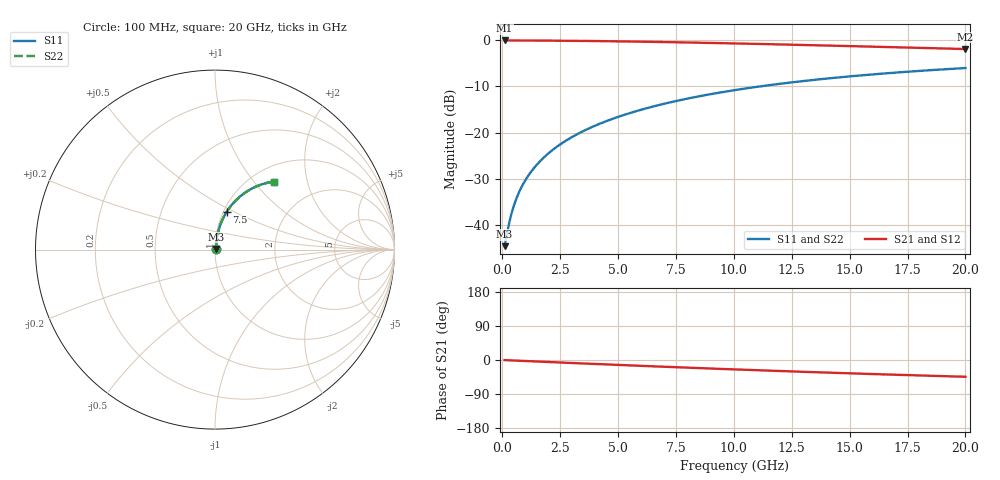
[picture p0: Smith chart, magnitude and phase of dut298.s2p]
! Touchstone file exported from HFSS 2024.1.0
!  File:  C:/UserFiles/LocalFiles/RDL_TSV_Batchsim/temp_RDL_top_298_1778690738.aedt
!  Generated:  12:47:47 AM May 14, 2026
!  Design:  RDL_top
!  Project:  temp_RDL_top_298_1778690738
!  Setup:  Setup1
!  Solution:  Sweep
! Variables:
!  dtsv = 10.80580581um
!  hbump = 3um
!  htsv = 71.89um
!  ldown = 100um
!  lrdl = 532.44um
!  p = 40
!  p1 = 59.19um
!  rhole = 1um
!  t = 450um
!  tdown = 3.915915916um
!  trdl = 2.73um
!  wdown = 15.38538539um
!  wrdl = 13.99um
# GHz S MA R 50.000000
! Terminal data exported
! Port[1] = Box2_T1
! Port[2] = Box2_T2
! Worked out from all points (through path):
!   200 points, 100 MHz to 20 GHz, reference 50 ohm
!   highest |S21| = -0.04 dB at 100 MHz (marker M1); lowest = -1.9 dB at 20 GHz (marker M2)
!   group delay of S21, straight-line fit = 6.15 ps
!   lowest |S11| = -44.5 dB at 100 MHz (marker M3), VSWR 1.01, Z = 50.5 + j0.313 ohm
!   |S11| at or under -10 dB: start of sweep to 11.1 GHz
!   |S22| runs from -44.5 to -6.0 dB; largest |S21 - S12| = 4.9e-15
!   S11 on the Smith chart (normalised r, x): 100 MHz: 1.01, +0.01; 7.5 GHz: 1.04, +0.46; 20 GHz: 1.26, +1.27
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0.1  0.005933 31.5  0.9949 -0.3  0.9949 -0.3  0.005933 31.5
! Gamma 0 0 0 0
! Port Impedance 50 0 50 0
0.3  0.01064 60.3  0.9947 -0.8  0.9947 -0.8  0.01064 60.3
0.4  0.01342 66.1  0.9946 -1.1  0.9946 -1.1  0.01342 66.1
0.5  0.01628 69.7  0.9944 -1.4  0.9944 -1.4  0.01628 69.7
0.6  0.01916 72.2  0.9942 -1.6  0.9942 -1.6  0.01916 72.2
0.8  0.02496 75.4  0.9938 -2.2  0.9938 -2.2  0.02496 75.4
1.1  0.03369 77.9  0.9931 -2.9  0.9931 -2.9  0.03369 77.9
1.5  0.04537 79.5  0.9921 -4.0  0.9921 -4.0  0.04538 79.5
1.8  0.05417 80.1  0.9912 -4.8  0.9912 -4.8  0.05417 80.1
2.1  0.06298 80.3  0.9901 -5.6  0.9901 -5.6  0.06298 80.3
2.7  0.08065 80.3  0.9876 -7.1  0.9876 -7.1  0.08065 80.3
3.5  0.1042 79.6  0.9835 -9.2  0.9835 -9.2  0.1042 79.6
4.2  0.1248 78.7  0.9791 -11.0  0.9791 -11.0  0.1248 78.7
5  0.1483 77.5  0.9734 -13.0  0.9734 -13.0  0.1483 77.4
5.9  0.1745 75.9  0.9661 -15.2  0.9661 -15.2  0.1745 75.9
6.8  0.2003 74.2  0.958 -17.4  0.958 -17.4  0.2003 74.2
7.5  0.2201 72.8  0.9513 -19.1  0.9513 -19.1  0.2201 72.8
8.7  0.2533 70.5  0.9389 -21.9  0.9389 -21.9  0.2533 70.5
10.1  0.2906 67.6  0.9235 -25.0  0.9235 -25.0  0.2906 67.6
13.4  0.3715 61.1  0.8844 -32.0  0.8844 -32.0  0.3715 61.1
16.7  0.4414 54.9  0.8438 -38.4  0.8438 -38.4  0.4414 54.9
20  0.5005 49.2  0.8038 -44.3  0.8038 -44.3  0.5005 49.2
